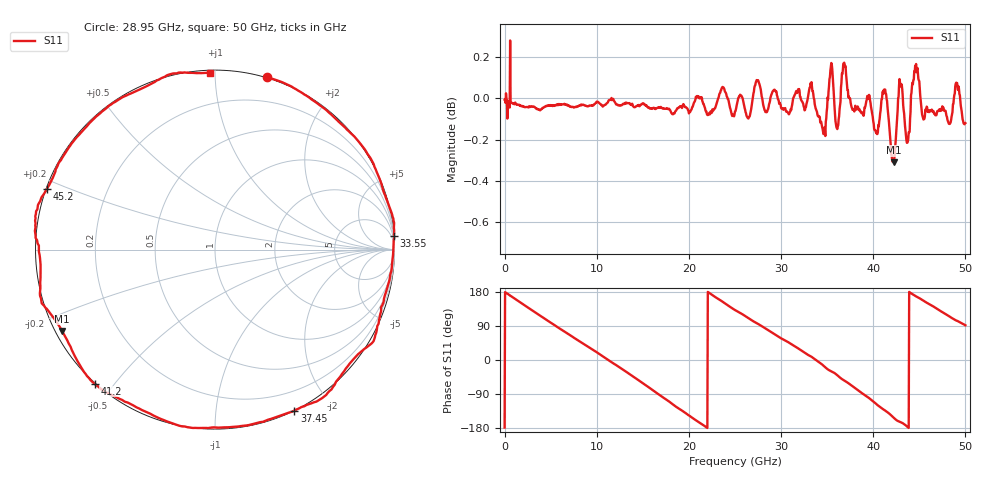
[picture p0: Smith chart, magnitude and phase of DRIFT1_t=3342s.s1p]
!Created with skrf (http://scikit-rf.org).
# Hz S RI R 50.0
!freq ReS11 ImS11
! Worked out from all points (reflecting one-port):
!   1001 points, 300 kHz to 50 GHz, reference 50 ohm
!   lowest |S11| = -0.3 dB at 42.2 GHz (marker M1), VSWR 55.91, Z = 0.95 - j12.5 ohm
!   phase of S11 starts at -178 deg and turns -810 deg over the sweep
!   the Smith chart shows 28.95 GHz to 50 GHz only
!   S11 on the Smith chart (normalised r, x): 28.95 GHz: -0.00, +1.34; 33.55 GHz: 0, +26; 37.45 GHz: -0.00, -1.61; 41.2 GHz: -0.00, -0.45; 45.2 GHz: 0.00, +0.17; 50 GHz: 0.01, +0.97
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300000  -0.9988 -0.029
1.60029e9  -0.8931 0.4418
3.40028e9  -0.5601 0.8217
6.250262e9  0.1942 0.9775
9.550243e9  0.8881 0.451
1.110023e10  0.9963 0.0454
1.250022e10  0.9369 -0.3384
1.580021e10  0.2597 -0.9598
1.73002e10  -0.1814 -0.9778
1.875019e10  -0.5807 -0.8074
2.050018e10  -0.9023 -0.4234
2.175017e10  -0.9909 -0.0856
2.350016e10  -0.9198 0.4041
2.500015e10  -0.6616 0.7401
2.720014e10  -0.1628 0.9942
2.895013e10  0.2881 0.9599
3.125011e10  0.7657 0.6403
3.35501e10  0.9969 0.0781
3.555009e10  0.8716 -0.5236
3.745008e10  0.4424 -0.897
3.750008e10  0.4279 -0.9035
3.945006e10  -0.1526 -0.9897
4.120005e10  -0.671 -0.7469
4.220005e10  -0.8514 -0.4539
4.375004e10  -0.9748 -0.0485
4.520003e10  -0.9379 0.3366
4.770001e10  -0.5472 0.8292
5e10  -0.0276 0.9859
